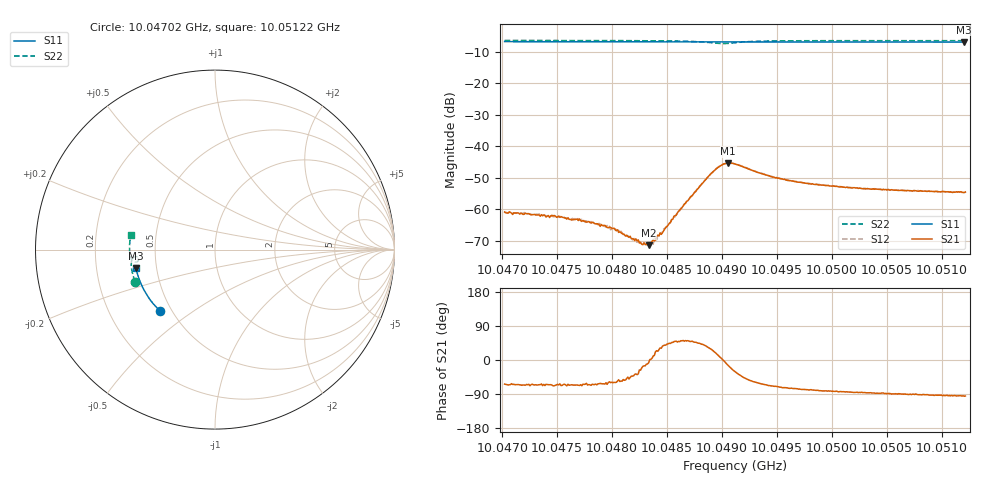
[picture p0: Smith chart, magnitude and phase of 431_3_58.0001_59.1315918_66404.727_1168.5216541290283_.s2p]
#  HZ  S  RI  R  50.00
! Rohde & Schwarz Vector Network Analyzer
! Rohde-Schwarz,ZNB20-2Port,1311601062101988,3.16
! Created: UTC 3/21/2024, 1:09:40 AM
! freq[Hz]  re:S11  im:S11  re:S21  im:S21  re:S12  im:S12  re:S22  im:S22
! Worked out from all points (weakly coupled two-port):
!   401 points, 10.04702 GHz to 10.05122 GHz, reference 50 ohm
!   highest |S21| = -45.37 dB at 10.04906 GHz (marker M1); lowest = -71.5 dB at 10.04833 GHz (marker M2)
!   lowest |S11| = -6.9 dB at 10.05121 GHz (marker M3), VSWR 2.65, Z = 19.1 - j5.05 ohm
!   |S11| at or under -10 dB: nowhere
!   |S22| runs from -7.4 to -6.4 dB; largest |S21 - S12| = 0.00037
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1.0047022e10  -0.3072 -0.3416  0.000402 -0.000808  0.000425 -0.000777  -0.4454 -0.1788
1.004742e10  -0.3257 -0.3227  0.000335 -0.000719  0.000368 -0.000709  -0.4538 -0.153
1.0047462e10  -0.3277 -0.3208  0.000291 -0.000727  0.000335 -0.000687  -0.4548 -0.1503
1.0047724e10  -0.3391 -0.3078  0.000239 -0.000594  0.000317 -0.000613  -0.4595 -0.1327
1.0047903e10  -0.3465 -0.2987  0.000264 -0.000506  0.000296 -0.000489  -0.4624 -0.1203
1.0047997e10  -0.3504 -0.2939  0.000261 -0.000425  0.000263 -0.000402  -0.4636 -0.1136
1.004806e10  -0.353 -0.2906  0.000263 -0.000337  0.000296 -0.000354  -0.4645 -0.1092
1.004827e10  -0.3613 -0.2795  0.000259 -0.0001  0.000268 -0.000112  -0.4664 -0.0932
1.0048333e10  -0.3638 -0.2761  0.000264 -3.52e-05  0.000292 -8.66e-06  -0.4669 -0.0882
1.0048354e10  -0.3646 -0.275  0.000294 1.05e-05  0.000275 4.79e-05  -0.4671 -0.0865
1.0048427e10  -0.3673 -0.271  0.000331 0.000174  0.000319 0.000212  -0.4671 -0.0804
1.0048469e10  -0.369 -0.2688  0.000357 0.00028  0.000379 0.000297  -0.467 -0.0767
1.0048658e10  -0.3757 -0.2583  0.000781 0.000918  0.000714 0.000964  -0.4642 -0.0589
1.0048889e10  -0.3836 -0.2454  0.003 0.00177  0.00288 0.00195  -0.443 -0.0387
1.0048973e10  -0.3862 -0.2408  0.00461 0.000883  0.0046 0.0012  -0.4288 -0.0441
1.0049057e10  -0.3888 -0.2362  0.00523 -0.00132  0.00534 -0.000967  -0.4266 -0.0607
1.004912e10  -0.3909 -0.2327  0.0045 -0.00268  0.00468 -0.0024  -0.4358 -0.0688
1.0049466e10  -0.4018 -0.2128  0.00116 -0.00302  0.00135 -0.00297  -0.4696 -0.0452
1.0049822e10  -0.4119 -0.1913  0.000475 -0.0025  0.000626 -0.00246  -0.4753 -0.0155
1.0050525e10  -0.4281 -0.1485  5.79e-05 -0.00201  0.000158 -0.00204  -0.475 0.0351
1.0051207e10  -0.4397 -0.1053  -0.000178 -0.00183  -6.03e-05 -0.00185  -0.4693 0.081
1.0051218e10  -0.4399 -0.1046  -0.000166 -0.00187  -4.94e-05 -0.00184  -0.4691 0.0819
